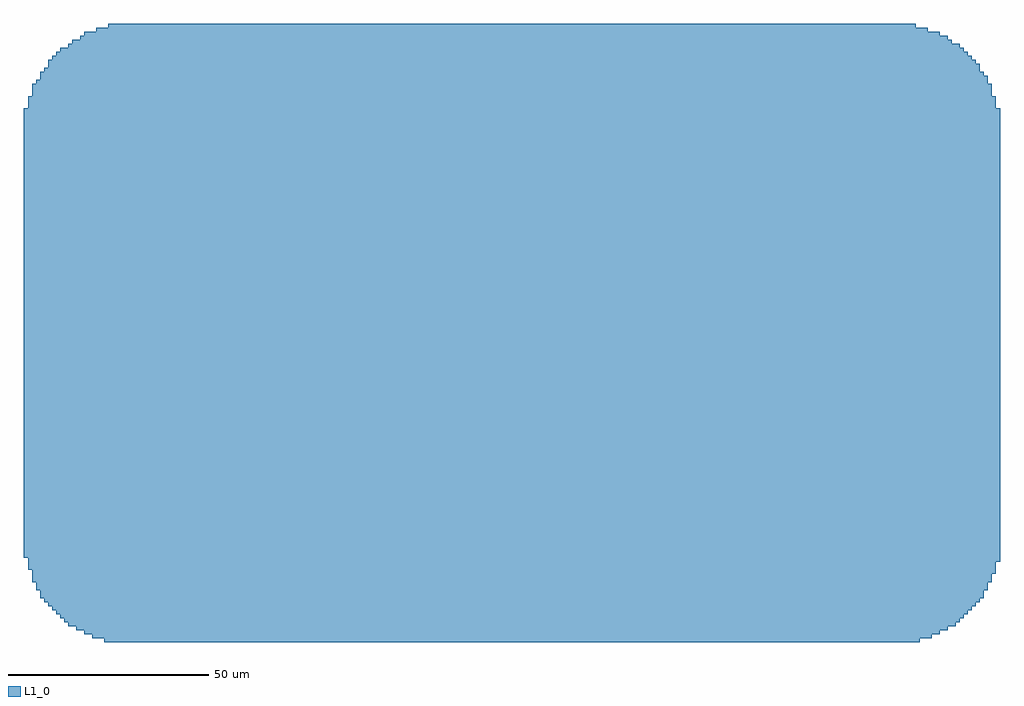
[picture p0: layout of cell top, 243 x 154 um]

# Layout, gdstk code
import gdstk
lib = gdstk.Library(unit=1e-6, precision=1e-09)
def R(c, l, rs):  # rectangles x0, y0, x1, y1
    for r in rs: c.add(gdstk.rectangle(r[:2], r[2:], *l))
def A(c, l, x, y, w, h, nx, ny, dx, dy):  # array of equal rectangles
    R(c, l, [(x+i*dx, y+j*dy, x+i*dx+w, y+j*dy+h) for i in range(nx) for j in range(ny)])
L1_0 = (1, 0)

top = lib.new_cell('top')
A(top, L1_0, 0, 21, 243, 1, 1, 112, 0, 1)
A(top, L1_0, 1, 133, 241, 1, 1, 3, 0, 1)
A(top, L1_0, 2, 136, 239, 1, 1, 3, 0, 1)
R(top, L1_0, [(20,0,223,1), (17,1,226,2), (15,2,228,3), (13,3,230,4), (11,4,232,5), (10,5,233,6), (9,6,234,7), (8,7,235,8), (7,8,236,9), (6,9,237,10), (5,10,238,11), (4,11,239,12), (4,12,239,13), (3,13,240,14), (3,14,240,15), (2,15,241,16), (2,16,241,17), (2,17,242,18), (1,18,242,19), (1,19,242,20), (1,20,243,21), (3,139,240,140), (4,140,240,141), (4,141,239,142), (5,142,238,143), (6,143,238,144), (6,144,237,145), (7,145,236,146), (8,146,235,147), (9,147,234,148), (11,148,233,149), (12,149,231,150), (14,150,230,151), (15,151,228,152), (18,152,225,153), (21,153,222,154)])

lib.write_gds('top.gds')
